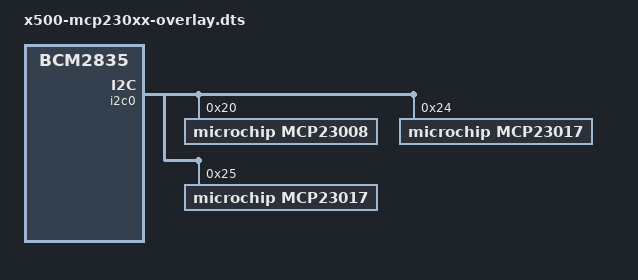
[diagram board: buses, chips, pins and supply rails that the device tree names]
/dts-v1/;
/plugin/;

#include <dt-bindings/gpio/gpio.h>
#include <dt-bindings/interrupt-controller/irq.h>

/ {
    compatible = "brcm,bcm2835";

    fragment@0 {
        target = <&i2c0>;
        __overlay__ {
            #address-cells = <1>;
            #size-cells = <0>;

            mcp23008@20 {
                compatible = "microchip,mcp23008";
                reg = <0x20>;
                gpio-controller;
                #gpio-cells = <2>;
                pinctrl-names = "default";
                status = "okay";

                // Konfiguracja GPIO0 jako wyjście i ustawienie na 0
                gpio-line-names = "gpio0";
                microchip,irq-mirror = <0>;
            };

            mcp23017@24 {
                compatible = "microchip,mcp23017";
                reg = <0x24>;
                gpio-controller;
                #gpio-cells = <2>;
                pinctrl-names = "default";
                status = "okay";
            };

            mcp23017@25 {
                compatible = "microchip,mcp23017";
                reg = <0x25>;
                gpio-controller;
                #gpio-cells = <2>;
                pinctrl-names = "default";
                status = "okay";
            };
        };
    };
};

